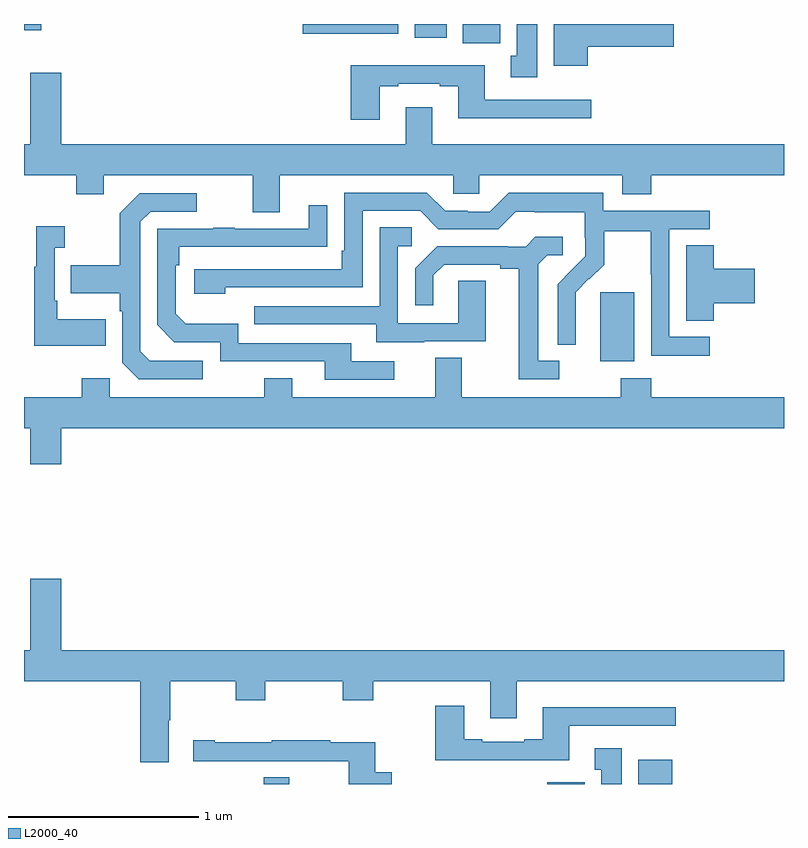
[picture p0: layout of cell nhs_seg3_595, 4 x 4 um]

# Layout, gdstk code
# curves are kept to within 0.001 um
import gdstk
lib = gdstk.Library(unit=1e-6, precision=1e-09)
def R(c, l, rs):  # rectangles x0, y0, x1, y1
    for r in rs: c.add(gdstk.rectangle(r[:2], r[2:], *l))
def P(c, l, *ps):  # polygons
    for p in ps: c.add(gdstk.Polygon(p, *l))
L2000_40 = (2000, 40)

nhs_seg3_595 = lib.new_cell('nhs_seg3_595')
R(nhs_seg3_595, L2000_40, [(142.262,676.4,142.396,676.436), (143.753,676.4,143.95,676.408), (144.233,676.4,144.412,676.528), (144.032,678.626,144.211,678.987), (143.309,680.3,143.506,680.4), (143.057,680.328,143.224,680.4), (142.466,680.348,142.969,680.4), (141,680.366,141.091,680.4)])
P(nhs_seg3_595, L2000_40, [(143.701,680.4),(143.594,680.4),(143.594,680.234),(143.561,680.234),(143.561,680.121),(143.701,680.121)],
  [(143.968,680.279),(144.421,680.279),(144.421,680.4),(143.789,680.4),(143.789,680.18),(143.968,680.18)],
  [(142.873,680.073),(142.969,680.073),(142.969,680.085),(143.189,680.085),(143.189,680.073),(143.285,680.073),(143.285,679.904),(143.986,679.904),(143.986,680.001),(143.425,680.001),(143.425,680.182),(142.721,680.182),(142.721,679.896),(142.873,679.896)],
  [(142.345,679.604),(143.259,679.604),(143.259,679.506),(143.397,679.506),(143.397,679.604),(144.149,679.604),(144.149,679.505),(144.302,679.505),(144.302,679.604),(145,679.604),(145,679.768),(143.149,679.768),(143.149,679.963),(143.009,679.963),(143.009,679.768),(141.196,679.768),(141.196,680.143),(141.032,680.143),(141.032,679.768),(141,679.768),(141,679.604),(141.274,679.604),(141.274,679.505),(141.421,679.505),(141.421,679.604),(142.205,679.604),(142.205,679.41),(142.345,679.41)],
  [(144.61,678.753),(144.396,678.753),(144.396,679.32),(144.61,679.32),(144.61,679.416),(144.048,679.416),(144.048,679.513),(143.551,679.513),(143.451,679.413),(143.336,679.413),(143.336,679.416),(143.217,679.416),(143.121,679.512),(142.686,679.512),(142.686,679.207),(142.673,679.207),(142.673,679.11),(141.897,679.11),(141.897,678.98),(142.058,678.98),(142.058,679.014),(142.782,679.014),(142.782,679.416),(143.085,679.416),(143.181,679.32),(143.496,679.32),(143.589,679.413),(143.689,679.413),(143.689,679.409),(143.952,679.409),(143.952,679.275),(143.954,679.275),(143.954,679.178),(143.808,679.03),(143.808,678.712),(143.904,678.712),(143.903,678.989),(143.973,679.059),(143.976,679.056),(144.053,679.133),(144.053,679.308),(144.298,679.308),(144.298,679.084),(144.3,679.084),(144.3,678.655),(144.61,678.655)],
  [(141.94,678.627),(141.663,678.627),(141.612,678.678),(141.612,679.359),(141.666,679.413),(141.91,679.413),(141.91,679.509),(141.609,679.509),(141.504,679.403),(141.504,679.131),(141.247,679.131),(141.247,678.983),(141.504,678.983),(141.504,678.887),(141.516,678.887),(141.516,678.618),(141.603,678.531),(141.94,678.531)],
  [(142.948,678.624),(142.723,678.624),(142.723,678.72),(142.128,678.72),(142.128,678.823),(141.851,678.823),(141.798,678.876),(141.798,679.13),(141.818,679.13),(141.818,679.227),(142.595,679.228),(142.595,679.447),(142.499,679.447),(142.499,679.323),(142.109,679.323),(142.109,679.328),(141.997,679.328),(141.997,679.323),(141.702,679.323),(141.702,678.816),(141.792,678.726),(142.032,678.726),(142.032,678.624),(142.583,678.624),(142.583,678.528),(142.948,678.528)],
  [(141.431,678.847),(141.175,678.847),(141.175,678.943),(141.162,678.943),(141.162,679.223),(141.214,679.223),(141.214,679.336),(141.065,679.336),(141.065,679.123),(141.054,679.123),(141.054,678.707),(141.431,678.707)],
  [(143.107,678.729),(143.431,678.729),(143.431,679.049),(143.286,679.049),(143.286,678.825),(142.968,678.825),(142.968,679.23),(143.041,679.23),(143.041,679.331),(142.872,679.331),(142.872,678.915),(142.213,678.915),(142.213,678.819),(142.853,678.819),(142.853,678.725),(143.107,678.725)],
  [(143.818,678.627),(143.707,678.627),(143.707,679.135),(143.754,679.182),(143.836,679.182),(143.836,679.279),(143.692,679.279),(143.64,679.227),(143.546,679.227),(143.546,679.23),(143.174,679.23),(143.058,679.114),(143.058,678.921),(143.155,678.921),(143.155,679.077),(143.212,679.134),(143.507,679.134),(143.507,679.112),(143.603,679.112),(143.603,678.531),(143.818,678.531)],
  [(144.629,678.929),(144.847,678.929),(144.847,679.112),(144.629,679.112),(144.629,679.235),(144.485,679.235),(144.485,678.838),(144.629,678.838)],
  [(141.196,678.272),(145,678.272),(145,678.436),(144.302,678.436),(144.302,678.535),(144.142,678.535),(144.142,678.436),(143.305,678.436),(143.305,678.644),(143.165,678.644),(143.165,678.436),(142.411,678.436),(142.411,678.535),(142.264,678.535),(142.264,678.436),(141.45,678.436),(141.45,678.535),(141.304,678.535),(141.304,678.436),(141,678.436),(141,678.272),(141.032,678.272),(141.032,678.084),(141.196,678.084)],
  [(141.763,676.736),(141.771,676.736),(141.771,676.94),(142.114,676.94),(142.114,676.841),(142.269,676.841),(142.269,676.94),(142.678,676.94),(142.678,676.841),(142.838,676.841),(142.838,676.94),(143.453,676.94),(143.453,676.746),(143.593,676.746),(143.593,676.94),(145,676.94),(145,677.104),(141.196,677.104),(141.196,677.479),(141.032,677.479),(141.032,677.104),(141,677.104),(141,676.94),(141.611,676.94),(141.611,676.515),(141.763,676.515)],
  [(143.869,676.707),(144.43,676.707),(144.43,676.804),(143.729,676.804),(143.729,676.636),(143.633,676.636),(143.633,676.623),(143.413,676.623),(143.413,676.636),(143.317,676.636),(143.317,676.813),(143.165,676.813),(143.165,676.526),(143.869,676.526)],
  [(142.936,676.462),(142.848,676.462),(142.848,676.62),(142.613,676.62),(142.613,676.63),(142.303,676.63),(142.303,676.62),(142.003,676.62),(142.003,676.63),(141.891,676.63),(141.891,676.52),(142.166,676.52),(142.166,676.521),(142.5,676.521),(142.5,676.52),(142.709,676.52),(142.709,676.4),(142.936,676.4)],
  [(144.145,676.588),(144.005,676.588),(144.005,676.475),(144.038,676.475),(144.038,676.4),(144.145,676.4)])

lib.write_gds('nhs_seg3_595.gds')
